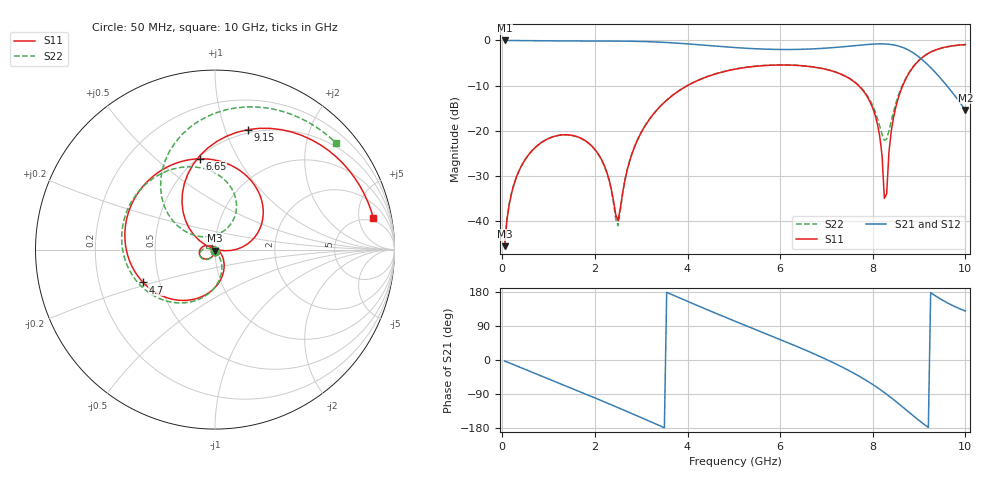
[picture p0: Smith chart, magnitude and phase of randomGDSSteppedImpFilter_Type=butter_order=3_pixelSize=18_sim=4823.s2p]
! freq	dB(S11)	phase(S11)	dB(S12)	phase(S12)
!  dB(S21)	phase(S21)	dB(S22)	phase(S22)
!S-par simulation data
#  GHz  S  DB  R 50
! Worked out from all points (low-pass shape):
!   200 points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, 50 MHz to 10 GHz, reference 50 ohm
!   highest |S21| = -0.01 dB at 50 MHz (marker M1); lowest = -15.4 dB at 10 GHz (marker M2)
!   |S21| within 3 dB of the highest: start of sweep to 8.91 GHz
!   lowest |S11| = -45.6 dB at 50 MHz (marker M3), VSWR 1.01, Z = 50 - j0.527 ohm
!   |S11| at or under -10 dB: start of sweep to 3.999 GHz; 7.692 GHz to 8.648 GHz (955.3 MHz wide, 11.7 % of centre)
!   |S22| runs from -45.6 to -0.9 dB; largest |S21 - S12| = 0
!   S11 on the Smith chart (normalised r, x): 50 MHz: 1.00, -0.01; 4.7 GHz: 0.40, -0.18; 6.65 GHz: 0.51, +0.71; 9.15 GHz: 0.47, +1.20; 10 GHz: 4.16, +7.79
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0.05  -45.56 -90.1  -0.01 -2.6  -0.01 -2.6  -45.55 -90.0
0.2  -33.81 -99.9  -0.02 -10.1  -0.02 -10.1  -33.81 -99.2
0.55  -25.55 -119.1  -0.05 -27.6  -0.05 -27.6  -25.55 -117.1
1.75  -21.94 176.2  -0.13 -87.5  -0.13 -87.5  -21.96 -173.5
2.2  -27.63 145.5  -0.13 -110.3  -0.13 -110.3  -27.73 170.6
2.5  -39.90 44.0  -0.15 -125.8  -0.15 -125.8  -41.03 -114.0
2.8  -25.08 -42.7  -0.18 -141.5  -0.18 -141.5  -25.05 -60.5
3.4  -14.71 -82.9  -0.38 -173.4  -0.38 -173.4  -14.68 -84.8
4.7  -7.13 -155.4  -1.33 118.7  -1.33 118.7  -7.10 -147.7
5.05  -6.32 -174.0  -1.60 101.1  -1.60 101.1  -6.29 -164.0
5.8  -5.49 146.5  -1.97 64.0  -1.97 64.0  -5.46 161.8
6.65  -5.79 99.6  -1.90 20.6  -1.90 20.6  -5.77 122.4
6.7  -5.86 96.7  -1.88 18.0  -1.88 18.0  -5.84 120.1
7.35  -7.64 56.6  -1.41 -19.3  -1.41 -19.3  -7.60 87.5
7.9  -12.80 16.9  -0.89 -56.9  -0.89 -56.9  -12.52 60.5
8.15  -21.18 -3.3  -0.76 -77.1  -0.76 -77.1  -18.96 65.4
8.25  -34.96 -5.3  -0.78 -85.8  -0.78 -85.8  -22.10 94.2
8.3  -33.95 150.6  -0.80 -90.4  -0.80 -90.4  -21.81 116.6
8.35  -24.58 154.0  -0.85 -95.0  -0.85 -95.0  -20.04 134.1
8.6  -11.25 130.4  -1.38 -119.5  -1.38 -119.5  -10.86 145.6
9.15  -3.18 74.5  -5.01 -173.6  -5.01 -173.6  -3.16 101.7
10  -0.92 11.4  -15.42 129.4  -15.42 129.4  -0.93 41.6
